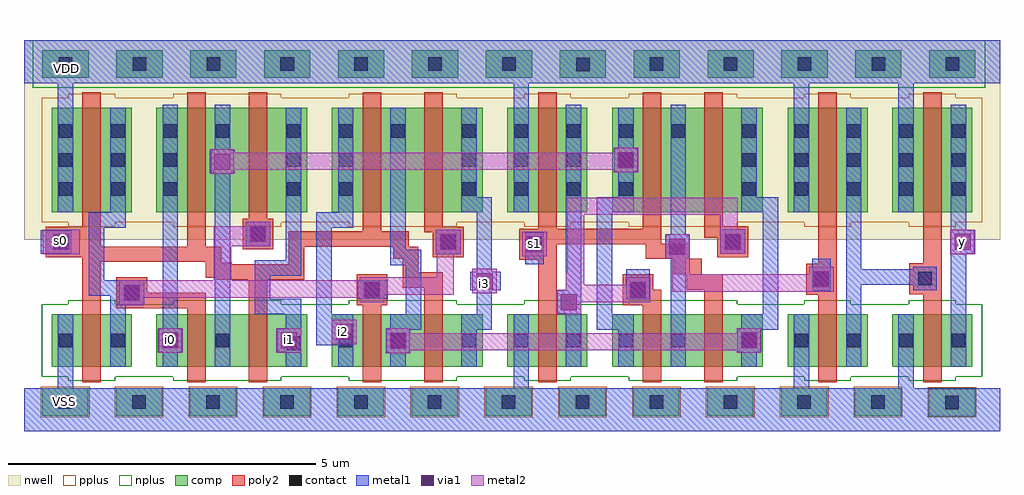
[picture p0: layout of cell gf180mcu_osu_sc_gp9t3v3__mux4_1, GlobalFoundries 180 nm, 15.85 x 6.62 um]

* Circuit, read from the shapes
.subckt gf180mcu_osu_sc_gp9t3v3__mux4_1 VDD VSS i0 i1 i2 i3 s0 s1 y
XM1 n1 s0 VSS VSS nfet_03v3 w=0.85u l=0.3u
XM2 n2 n1 i0 VSS nfet_03v3 w=0.85u l=0.3u
XM3 i1 s0 n2 VSS nfet_03v3 w=0.85u l=0.3u
XM4 n3 n1 i2 VSS nfet_03v3 w=0.85u l=0.3u
XM5 i3 s0 n3 VSS nfet_03v3 w=0.85u l=0.3u
XM6 n4 s1 VSS VSS nfet_03v3 w=0.85u l=0.3u
XM7 n5 n4 n2 VSS nfet_03v3 w=0.85u l=0.3u
XM8 n3 s1 n5 VSS nfet_03v3 w=0.85u l=0.3u
XM9 n6 n5 VSS VSS nfet_03v3 w=0.85u l=0.3u
XM10 y n6 VSS VSS nfet_03v3 w=0.85u l=0.3u
XM11 n1 s0 VDD VDD pfet_03v3 w=1.7u l=0.3u
XM12 n2 s0 i0 VDD pfet_03v3 w=1.7u l=0.3u
XM13 i1 n1 n2 VDD pfet_03v3 w=1.7u l=0.3u
XM14 n3 s0 i2 VDD pfet_03v3 w=1.7u l=0.3u
XM15 i3 n1 n3 VDD pfet_03v3 w=1.7u l=0.3u
XM16 n4 s1 VDD VDD pfet_03v3 w=1.7u l=0.3u
XM17 n5 s1 n2 VDD pfet_03v3 w=1.7u l=0.3u
XM18 n3 n4 n5 VDD pfet_03v3 w=1.7u l=0.3u
XM19 n6 n5 VDD VDD pfet_03v3 w=1.7u l=0.3u
XM20 y n6 VDD VDD pfet_03v3 w=1.7u l=0.3u
.ends

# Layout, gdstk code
import gdstk
lib = gdstk.Library(unit=1e-6, precision=1e-09)
def R(c, l, rs):  # rectangles x0, y0, x1, y1
    for r in rs: c.add(gdstk.rectangle(r[:2], r[2:], *l))
def A(c, l, x, y, w, h, nx, ny, dx, dy):  # array of equal rectangles
    R(c, l, [(x+i*dx, y+j*dy, x+i*dx+w, y+j*dy+h) for i in range(nx) for j in range(ny)])
def P(c, l, *ps):  # polygons
    for p in ps: c.add(gdstk.Polygon(p, *l))
nwell = (21, 0)
comp = (22, 0)
poly2 = (30, 0)
pplus = (31, 0)
nplus = (32, 0)
contact = (33, 0)
metal1 = (34, 0)
via1 = (35, 0)
metal2 = (36, 0)

gf180mcu_osu_sc_gp9t3v3_ = lib.new_cell('gf180mcu_osu_sc_gp9t3v3__mux4_1')
R(gf180mcu_osu_sc_gp9t3v3_, nwell, [(12.52,2.055,28.37,5.29)])
A(gf180mcu_osu_sc_gp9t3v3_, comp, 20.02, 4.68, 0.75, 0.45, 3, 1, 1.2, 0)
R(gf180mcu_osu_sc_gp9t3v3_, comp, [(27.215,-0.815,27.965,-0.365), (27.215,-0.815,27.965,-0.365), (27.215,-0.815,27.965,-0.365), (27.215,-0.815,27.965,-0.365), (27.215,-0.815,27.965,-0.365), (12.815,-0.81,13.565,-0.36), (12.815,-0.81,13.565,-0.36), (14.015,-0.81,14.765,-0.36), (14.015,-0.81,14.765,-0.36), (15.215,-0.81,15.965,-0.36), (15.215,-0.81,15.965,-0.36), (15.215,-0.81,15.965,-0.36), (15.215,-0.81,15.965,-0.36), (16.415,-0.81,17.165,-0.36), (16.415,-0.81,17.165,-0.36), (16.415,-0.81,17.165,-0.36), (16.415,-0.81,17.165,-0.36), (17.615,-0.81,18.365,-0.36), (17.615,-0.81,18.365,-0.36), (17.615,-0.81,18.365,-0.36), (17.615,-0.81,18.365,-0.36), (18.815,-0.81,19.565,-0.36), (18.815,-0.81,19.565,-0.36), (18.815,-0.81,19.565,-0.36), (18.815,-0.81,19.565,-0.36), (20.015,-0.81,20.765,-0.36), (20.015,-0.81,20.765,-0.36), (20.015,-0.81,20.765,-0.36), (20.015,-0.81,20.765,-0.36), (21.215,-0.81,21.965,-0.36), (21.215,-0.81,21.965,-0.36), (21.215,-0.81,21.965,-0.36), (21.215,-0.81,21.965,-0.36), (21.215,-0.81,21.965,-0.36), (22.415,-0.81,23.165,-0.36), (22.415,-0.81,23.165,-0.36), (22.415,-0.81,23.165,-0.36), (22.415,-0.81,23.165,-0.36), (22.415,-0.81,23.165,-0.36), (23.615,-0.81,24.365,-0.36), (23.615,-0.81,24.365,-0.36), (23.615,-0.81,24.365,-0.36), (23.615,-0.81,24.365,-0.36), (23.615,-0.81,24.365,-0.36), (24.815,-0.81,25.565,-0.36), (24.815,-0.81,25.565,-0.36), (24.815,-0.81,25.565,-0.36), (24.815,-0.81,25.565,-0.36), (24.815,-0.81,25.565,-0.36), (26.015,-0.81,26.765,-0.36), (26.015,-0.81,26.765,-0.36), (26.015,-0.81,26.765,-0.36), (26.015,-0.81,26.765,-0.36), (26.015,-0.81,26.765,-0.36), (12.97,-0.01,14.27,0.84), (14.67,-0.01,17.12,0.84), (17.52,-0.01,19.97,0.84), (20.37,-0.01,21.67,0.84), (22.07,-0.01,24.52,0.84), (24.92,-0.01,26.22,0.84), (26.62,-0.01,27.92,0.84), (12.97,2.495,14.27,4.195), (14.67,2.495,17.12,4.195), (17.52,2.495,19.97,4.195), (20.37,2.495,21.67,4.195), (22.07,2.495,24.52,4.195), (24.92,2.495,26.22,4.195), (26.62,2.495,27.92,4.195), (12.82,4.68,13.57,5.13), (14.02,4.68,14.77,5.13), (14.02,4.68,14.77,5.13), (15.22,4.68,15.97,5.13), (15.22,4.68,15.97,5.13), (16.42,4.68,17.17,5.13), (16.42,4.68,17.17,5.13), (17.62,4.68,18.37,5.13), (17.62,4.68,18.37,5.13), (18.82,4.68,19.57,5.13), (18.82,4.68,19.57,5.13), (20.02,4.68,20.77,5.13), (22.42,4.68,23.17,5.13), (23.62,4.68,24.37,5.13), (23.62,4.68,24.37,5.13), (24.82,4.68,25.57,5.13), (24.82,4.68,25.57,5.13), (26.02,4.68,26.77,5.13), (26.02,4.68,26.77,5.13), (27.22,4.68,27.97,5.13), (27.22,4.68,27.97,5.13)])
A(gf180mcu_osu_sc_gp9t3v3_, poly2, 14.42, 0.94, 0.25, 0.25, 3, 1, 0.25, 0)
A(gf180mcu_osu_sc_gp9t3v3_, poly2, 15.965, 1.405, 0.25, 0.25, 4, 1, 0.25, 0)
A(gf180mcu_osu_sc_gp9t3v3_, poly2, 16.82, 1.94, 0.25, 0.25, 7, 1, 0.25, 0)
A(gf180mcu_osu_sc_gp9t3v3_, poly2, 21.17, 1.98, 0.25, 0.25, 6, 1, 0.25, 0)
R(gf180mcu_osu_sc_gp9t3v3_, poly2, [(13.47,-0.26,13.77,4.444), (15.17,-0.26,15.47,1.19), (16.17,-0.26,16.47,1.615), (18.02,-0.26,18.32,1.19), (19.02,-0.26,19.32,1.19), (20.87,-0.26,21.17,4.444), (22.57,-0.26,22.87,1.19), (23.57,-0.26,23.87,1.19), (25.42,-0.26,25.72,-0.24), (27.12,-0.26,27.42,-0.24), (25.42,-0.259,25.72,4.445), (27.12,-0.259,27.42,4.445), (19.02,0.24,19.32,1.525), (14.02,0.94,14.52,1.44), (17.92,0.99,18.42,1.49), (17.92,0.99,18.42,1.49), (22.24,0.99,22.74,1.49), (22.62,0.99,22.87,1.24), (23.57,1.15,23.82,1.4), (23.62,1.155,23.87,1.405), (25.22,1.16,25.72,1.66), (26.9,1.17,27.4,1.67), (23.28,1.24,23.53,1.49), (23.53,1.24,23.78,1.49), (23.62,1.24,23.87,1.49), (18.67,1.275,18.92,1.525), (18.86,1.275,19.11,1.525), (15.64,1.405,15.89,1.655), (15.72,1.405,15.97,1.655), (16.82,1.405,17.07,1.655), (15.47,1.43,15.72,1.68), (15.64,1.43,15.89,1.68), (15.47,1.44,15.72,1.69), (18.67,1.44,18.92,1.69), (18.67,1.44,18.92,1.69), (16.82,1.445,17.07,1.695), (23.07,1.49,23.32,1.74), (23.28,1.49,23.53,1.74), (13.77,1.69,15.47,1.94), (15.47,1.69,15.72,1.94), (16.82,1.69,17.07,1.94), (18.67,1.69,18.92,1.94), (20.56,1.73,21.06,2.23), (18.52,1.74,18.77,1.99), (22.62,1.74,22.87,1.99), (22.745,1.74,22.995,1.99), (22.97,1.74,23.22,1.99), (23.07,1.74,23.32,1.99), (22.62,1.755,22.87,2.005), (12.875,1.765,13.375,2.265), (13.07,1.765,13.57,2.265), (19.16,1.765,19.66,2.265), (19.16,1.765,19.66,2.265), (19.16,1.765,19.66,2.265), (23.78,1.77,24.28,2.27), (23.78,1.77,24.28,2.27), (23.78,1.77,24.28,2.27), (15.17,1.895,15.47,4.445), (16.07,1.895,16.57,2.395), (16.07,1.895,16.57,2.395), (18.52,1.94,18.77,2.19), (22.62,1.98,22.87,2.23), (22.62,2.065,22.87,2.315), (22.57,2.07,22.82,2.32), (23.57,2.085,23.82,2.335), (18.02,2.12,18.27,2.37), (18.07,2.125,18.32,2.375), (19.02,2.17,19.27,2.42), (19.02,2.19,19.27,2.44), (19.07,2.19,19.32,2.44), (19.07,2.19,19.32,2.44), (23.57,2.19,23.82,2.44), (23.62,2.19,23.87,2.44), (18.02,2.245,18.32,4.445), (22.57,2.245,22.87,4.445), (16.17,2.395,16.47,4.445), (19.02,2.395,19.32,4.445), (23.57,2.395,23.87,4.445), (13.47,4.425,13.77,4.445), (20.87,4.425,21.17,4.445)])
A(gf180mcu_osu_sc_gp9t3v3_, pplus, 12.795, -0.83, 0.79, 0.49, 12, 1, 1.2, 0)
R(gf180mcu_osu_sc_gp9t3v3_, pplus, [(27.195,-0.835,27.985,-0.345), (13.24,2.265,14,2.335), (13.77,2.265,14,2.335), (14.94,2.265,15.17,2.335), (15.17,2.265,15.4,2.335), (15.215,2.265,15.975,2.335), (15.94,2.265,16.7,2.335), (16.47,2.265,16.7,2.335), (17.79,2.265,18.02,2.335), (18.02,2.265,18.25,2.335), (18.02,2.265,18.25,2.335), (18.065,2.265,18.825,2.335), (18.25,2.265,18.48,2.335), (18.295,2.265,19.055,2.335), (18.79,2.265,19.55,2.335), (18.79,2.265,19.55,2.335), (18.79,2.265,19.55,2.335), (20.64,2.265,21.4,2.335), (21.17,2.265,21.4,2.335), (22.34,2.265,22.57,2.335), (22.57,2.265,22.8,2.335), (22.615,2.265,23.375,2.335), (23.34,2.265,24.1,2.335), (25.19,2.265,25.95,2.335), (25.72,2.265,25.95,2.335), (26.89,2.265,27.65,2.335), (27.42,2.265,27.65,2.335), (12.81,2.335,28.08,4.355), (12.81,4.195,12.97,4.355), (13.24,4.355,14,4.425), (13.77,4.355,14,4.425), (14.94,4.355,15.17,4.425), (15.17,4.355,15.4,4.425), (15.17,4.355,15.4,4.425), (15.215,4.355,15.975,4.425), (15.4,4.355,15.63,4.425), (15.445,4.355,16.205,4.425), (15.94,4.355,16.7,4.425), (15.94,4.355,16.7,4.425), (15.94,4.355,16.7,4.425), (16.47,4.355,16.7,4.425), (16.47,4.355,16.7,4.425), (16.47,4.355,16.7,4.425), (17.79,4.355,18.02,4.425), (18.02,4.355,18.25,4.425), (18.065,4.355,18.825,4.425), (18.79,4.355,19.55,4.425), (18.79,4.355,19.55,4.425), (19.32,4.355,19.55,4.425), (19.32,4.355,19.55,4.425), (20.64,4.355,21.4,4.425), (21.17,4.355,21.4,4.425), (22.34,4.355,22.57,4.425), (22.57,4.355,22.8,4.425), (22.615,4.355,23.375,4.425), (23.34,4.355,24.1,4.425), (23.87,4.355,24.1,4.425), (25.19,4.355,25.95,4.425), (25.72,4.355,25.95,4.425), (26.89,4.355,27.65,4.425), (27.42,4.355,27.65,4.425)])
R(gf180mcu_osu_sc_gp9t3v3_, nplus, [(13.24,-0.24,13.47,-0.03), (13.455,-0.24,13.685,-0.03), (13.54,-0.24,13.77,-0.03), (13.77,-0.24,14,-0.03), (14.94,-0.24,15.17,-0.03), (15.155,-0.24,15.385,-0.03), (15.24,-0.24,15.47,-0.03), (15.465,-0.24,15.695,-0.03), (15.47,-0.24,15.7,-0.03), (15.68,-0.24,15.91,-0.03), (15.765,-0.24,15.995,-0.03), (15.94,-0.24,16.17,-0.03), (15.995,-0.24,16.225,-0.03), (16.155,-0.24,16.385,-0.03), (16.24,-0.24,16.47,-0.03), (16.47,-0.24,16.7,-0.03), (17.79,-0.24,18.02,-0.03), (18.005,-0.24,18.235,-0.03), (18.09,-0.24,18.32,-0.03), (18.32,-0.24,18.55,-0.03), (18.35,-0.24,18.58,-0.03), (18.565,-0.24,18.795,-0.03), (18.65,-0.24,18.88,-0.03), (18.79,-0.24,19.02,-0.03), (18.88,-0.24,19.11,-0.03), (19.005,-0.24,19.235,-0.03), (19.09,-0.24,19.32,-0.03), (19.32,-0.24,19.55,-0.03), (20.64,-0.24,20.87,-0.03), (20.855,-0.24,21.085,-0.03), (20.94,-0.24,21.17,-0.03), (21.17,-0.24,21.4,-0.03), (22.34,-0.24,22.57,-0.03), (22.555,-0.24,22.785,-0.03), (22.64,-0.24,22.87,-0.03), (22.87,-0.24,23.1,-0.03), (22.945,-0.24,23.175,-0.03), (23.16,-0.24,23.39,-0.03), (23.245,-0.24,23.475,-0.03), (23.34,-0.24,23.57,-0.03), (23.475,-0.24,23.705,-0.03), (23.555,-0.24,23.785,-0.03), (23.64,-0.24,23.87,-0.03), (23.87,-0.24,24.1,-0.03), (25.19,-0.24,25.42,-0.03), (25.405,-0.24,25.635,-0.03), (25.49,-0.24,25.72,-0.03), (25.72,-0.24,25.95,-0.03), (26.89,-0.24,27.12,-0.03), (27.105,-0.24,27.335,-0.03), (27.19,-0.24,27.42,-0.03), (27.42,-0.24,27.65,-0.03), (12.81,-0.17,28.08,1), (13.24,0.86,13.47,1.07), (13.455,0.86,13.685,1.07), (13.54,0.86,13.77,1.07), (13.77,0.86,14,1.07), (14.94,0.86,15.17,1.07), (14.94,0.86,15.17,1.07), (15.155,0.86,15.385,1.07), (15.155,0.86,15.385,1.07), (15.24,0.86,15.47,1.07), (15.24,0.86,15.47,1.07), (15.465,0.86,15.695,1.07), (15.47,0.86,15.7,1.07), (15.47,0.86,15.7,1.07), (15.68,0.86,15.91,1.07), (15.765,0.86,15.995,1.07), (15.94,0.86,16.17,1.07), (15.94,0.86,16.17,1.07), (15.995,0.86,16.225,1.07), (16.155,0.86,16.385,1.07), (16.155,0.86,16.385,1.07), (16.24,0.86,16.47,1.07), (16.24,0.86,16.47,1.07), (16.47,0.86,16.7,1.07), (16.47,0.86,16.7,1.07), (17.79,0.86,18.02,1.07), (18.005,0.86,18.235,1.07), (18.09,0.86,18.32,1.07), (18.235,0.86,18.465,1.07), (18.32,0.86,18.55,1.07), (18.45,0.86,18.68,1.07), (18.535,0.86,18.765,1.07), (18.765,0.86,18.995,1.07), (18.79,0.86,19.02,1.07), (19.005,0.86,19.235,1.07), (19.09,0.86,19.32,1.07), (19.32,0.86,19.55,1.07), (20.64,0.86,20.87,1.07), (20.855,0.86,21.085,1.07), (20.94,0.86,21.17,1.07), (21.17,0.86,21.4,1.07), (22.34,0.86,22.57,1.07), (22.555,0.86,22.785,1.07), (22.64,0.86,22.87,1.07), (22.78,0.86,23.01,1.07), (22.87,0.86,23.1,1.07), (22.995,0.86,23.225,1.07), (23.08,0.86,23.31,1.07), (23.31,0.86,23.54,1.07), (23.34,0.86,23.57,1.07), (23.555,0.86,23.785,1.07), (23.64,0.86,23.87,1.07), (23.87,0.86,24.1,1.07), (25.19,0.86,25.42,1.07), (25.405,0.86,25.635,1.07), (25.49,0.86,25.72,1.07), (25.72,0.86,25.95,1.07), (26.89,0.86,27.12,1.07), (27.105,0.86,27.335,1.07), (27.19,0.86,27.42,1.07), (27.42,0.86,27.65,1.07), (12.66,4.52,28.13,5.29)])
A(gf180mcu_osu_sc_gp9t3v3_, contact, 13.08, -0.695, 0.22, 0.22, 12, 1, 1.2, 0)
A(gf180mcu_osu_sc_gp9t3v3_, contact, 13.085, 0.305, 0.22, 0.22, 4, 2, 0.85, 3.4)
A(gf180mcu_osu_sc_gp9t3v3_, contact, 19.635, 0.305, 0.22, 0.22, 5, 2, 0.85, 3.4)
A(gf180mcu_osu_sc_gp9t3v3_, contact, 24.185, 0.305, 0.22, 0.22, 5, 2, 0.85, 2.46)
A(gf180mcu_osu_sc_gp9t3v3_, contact, 13.085, 2.765, 0.22, 0.22, 3, 2, 0.85, 0.47)
A(gf180mcu_osu_sc_gp9t3v3_, contact, 19.635, 2.765, 0.22, 0.22, 4, 2, 0.85, 0.47)
A(gf180mcu_osu_sc_gp9t3v3_, contact, 24.185, 3.235, 0.22, 0.22, 5, 2, 0.85, 0.47)
A(gf180mcu_osu_sc_gp9t3v3_, contact, 16.785, 3.705, 0.22, 0.22, 3, 1, 0.85, 0)
R(gf180mcu_osu_sc_gp9t3v3_, contact, [(27.48,-0.7,27.7,-0.48), (16.785,0.26,17.005,0.48), (17.635,0.305,17.855,0.525), (18.485,0.305,18.705,0.525), (18.485,0.305,18.705,0.525), (14.16,1.08,14.38,1.3), (18.06,1.13,18.28,1.35), (18.06,1.13,18.28,1.35), (22.38,1.13,22.6,1.35), (25.36,1.3,25.58,1.52), (27.04,1.31,27.26,1.53), (20.7,1.87,20.92,2.09), (13.015,1.905,13.235,2.125), (19.3,1.905,19.52,2.125), (19.3,1.905,19.52,2.125), (19.3,1.905,19.52,2.125), (23.92,1.91,24.14,2.13), (23.92,1.91,24.14,2.13), (23.92,1.91,24.14,2.13), (16.21,2.035,16.43,2.255), (16.21,2.035,16.43,2.255), (16.785,2.765,17.005,2.985), (17.635,2.765,17.855,2.985), (16.785,3.235,17.005,3.455), (17.635,3.235,17.855,3.455), (22.185,3.235,22.405,3.455), (21.485,4.79,21.705,5.01), (21.485,4.79,21.705,5.01), (13.085,4.795,13.305,5.015), (14.285,4.795,14.505,5.015), (14.285,4.795,14.505,5.015), (15.485,4.795,15.705,5.015), (15.485,4.795,15.705,5.015), (16.685,4.795,16.905,5.015), (16.685,4.795,16.905,5.015), (17.885,4.795,18.105,5.015), (17.885,4.795,18.105,5.015), (19.085,4.795,19.305,5.015), (19.085,4.795,19.305,5.015), (20.285,4.795,20.505,5.015), (20.285,4.795,20.505,5.015), (22.685,4.795,22.905,5.015), (22.685,4.795,22.905,5.015), (23.885,4.795,24.105,5.015), (23.885,4.795,24.105,5.015), (25.085,4.795,25.305,5.015), (25.085,4.795,25.305,5.015), (26.285,4.795,26.505,5.015), (26.285,4.795,26.505,5.015), (27.485,4.795,27.705,5.015), (27.485,4.795,27.705,5.015)])
P(gf180mcu_osu_sc_gp9t3v3_, contact, [(13.03,5.56),(13.03,5.56),(13.03,5.56),(13.03,5.56)])
A(gf180mcu_osu_sc_gp9t3v3_, metal1, 16.77, -0.01, 0.25, 0.85, 3, 1, 0.85, 0)
A(gf180mcu_osu_sc_gp9t3v3_, metal1, 17.27, 0.34, 0.25, 0.25, 1, 3, 0, 0.25)
A(gf180mcu_osu_sc_gp9t3v3_, metal1, 18.72, 0.59, 0.25, 0.25, 1, 3, 0, 0.25)
A(gf180mcu_osu_sc_gp9t3v3_, metal1, 21.82, 0.59, 0.25, 0.25, 1, 7, 0, 0.25)
A(gf180mcu_osu_sc_gp9t3v3_, metal1, 24.52, 0.79, 0.25, 0.25, 1, 6, 0, 0.25)
A(gf180mcu_osu_sc_gp9t3v3_, metal1, 16.27, 0.84, 0.25, 0.25, 3, 2, 0.25, 0.625)
A(gf180mcu_osu_sc_gp9t3v3_, metal1, 13.57, 1.29, 0.25, 0.25, 1, 4, 0, 0.25)
A(gf180mcu_osu_sc_gp9t3v3_, metal1, 19.87, 1.29, 0.25, 0.25, 1, 4, 0, 0.25)
A(gf180mcu_osu_sc_gp9t3v3_, metal1, 26.295, 1.32, 0.25, 0.25, 3, 1, 0.25, 0)
A(gf180mcu_osu_sc_gp9t3v3_, metal1, 17.27, 1.34, 0.25, 0.25, 1, 4, 0, 0.25)
A(gf180mcu_osu_sc_gp9t3v3_, metal1, 16.77, 2.495, 0.25, 1.7, 3, 1, 0.85, 0)
R(gf180mcu_osu_sc_gp9t3v3_, metal1, [(12.52,-1.06,28.37,-0.36), (13.07,-0.36,13.32,0.84), (20.47,-0.36,20.72,0.84), (25.02,-0.36,25.27,0.84), (26.72,-0.36,26.97,0.84), (13.92,-0.01,14.17,0.84), (14.77,-0.01,15.02,4.24), (14.77,-0.01,15.02,0.84), (15.62,-0.01,15.87,4.24), (19.62,-0.01,19.87,0.84), (21.32,-0.01,21.57,4.24), (22.17,-0.01,22.42,0.84), (23.02,-0.01,23.27,4.24), (24.17,-0.01,24.42,0.84), (25.87,-0.01,26.12,0.84), (27.57,-0.01,27.82,4.24), (16.77,0.215,17.02,0.465), (18.405,0.22,18.785,0.6), (14.705,0.225,15.085,0.605), (16.63,0.225,17.01,0.605), (24.105,0.225,24.485,0.605), (18.445,0.26,18.745,0.56), (17.52,0.34,17.77,0.59), (17.52,0.34,17.77,0.59), (17.57,0.405,17.87,0.705), (18.495,0.54,18.745,0.79), (24.195,0.54,24.445,0.79), (17.395,0.59,17.645,0.84), (19.87,0.59,20.12,0.84), (21.92,0.59,22.17,0.84), (24.42,0.59,24.67,0.84), (24.52,0.59,24.77,0.84), (24.52,0.595,24.77,0.845), (16.77,0.66,17.02,0.91), (19.87,0.8,20.12,1.23), (13.92,0.84,14.17,1.09), (25.87,0.84,26.12,2.54), (21.18,0.85,21.56,1.23), (14.07,0.99,14.47,1.39), (17.27,1.08,17.52,1.33), (22.3,1.085,22.68,1.575), (13.92,1.09,14.17,1.34), (16.27,1.09,16.52,1.34), (17.94,1.09,18.43,1.39), (18.02,1.09,18.32,1.39), (18.02,1.09,18.32,1.39), (22.34,1.09,22.64,1.39), (17.27,1.095,17.52,1.345), (13.57,1.14,13.82,1.39), (13.67,1.14,13.92,1.39), (13.92,1.14,14.17,1.39), (25.32,1.22,25.62,1.28), (19.77,1.23,20.26,1.53), (19.85,1.23,20.15,1.53), (19.85,1.23,20.15,1.53), (26.96,1.23,27.34,1.61), (25.32,1.24,25.62,1.26), (19.87,1.255,20.12,1.505), (25.32,1.26,25.62,1.56), (25.32,1.263,25.62,1.745), (27.28,1.27,27.34,1.57), (27.3,1.27,27.32,1.57), (18.72,1.275,18.97,1.525), (26.06,1.32,26.31,1.57), (16.27,1.34,16.52,1.59), (18.72,1.49,18.97,1.74), (16.77,1.51,17.02,1.76), (18.47,1.64,18.72,1.89), (18.72,1.64,18.97,1.89), (20.66,1.65,20.96,2.132), (16.77,1.74,17.02,1.99), (22.94,1.75,23.32,2.13), (18.47,1.79,18.72,2.04), (19.21,1.815,19.61,2.215), (23.83,1.82,24.23,2.22), (12.795,1.825,13.285,2.205), (27.575,1.825,27.955,2.205), (20.66,1.83,20.96,2.13), (16.77,1.84,17.02,2.09), (12.935,1.865,12.955,2.165), (12.955,1.865,12.975,2.165), (12.975,1.865,13.275,2.165), (16.12,1.945,16.52,2.345), (16.77,2.04,17.02,2.29), (18.47,2.04,18.72,2.29), (20.66,2.09,20.96,2.15), (20.66,2.11,20.96,2.17), (20.66,2.13,20.96,2.15), (13.57,2.245,13.82,2.495), (13.82,2.245,14.07,2.495), (13.92,2.245,14.17,2.495), (16.77,2.245,17.02,2.495), (17.27,2.245,17.52,2.495), (17.52,2.245,17.77,2.495), (17.62,2.245,17.87,2.495), (18.47,2.245,18.72,2.495), (19.87,2.245,20.12,2.495), (24.52,2.245,24.77,2.495), (21.82,2.295,22.07,2.545), (13.07,2.495,13.32,4.545), (13.92,2.495,14.17,4.195), (15.62,2.495,15.87,2.695), (18.47,2.495,18.72,2.695), (19.62,2.495,19.87,4.195), (19.87,2.495,20.12,2.745), (20.47,2.495,20.72,4.545), (21.82,2.495,22.07,2.745), (22.045,2.495,22.295,2.745), (22.17,2.495,22.42,4.195), (23.02,2.495,23.27,2.695), (24.17,2.495,24.42,4.195), (24.42,2.495,24.67,2.745), (24.52,2.495,24.77,2.745), (25.02,2.495,25.27,4.545), (25.87,2.495,26.12,4.195), (26.72,2.495,26.97,4.545), (15.55,3.13,15.93,3.51), (22.105,3.155,22.485,3.535), (20.47,4.39,20.72,4.64), (13.07,4.41,13.32,4.66), (25.02,4.44,25.27,4.69), (26.72,4.445,26.97,4.695), (12.52,4.59,28.37,5.29)])
R(gf180mcu_osu_sc_gp9t3v3_, via1, [(18.465,0.28,18.725,0.54), (18.465,0.28,18.725,0.54), (14.765,0.285,15.025,0.545), (16.69,0.285,16.95,0.545), (24.165,0.285,24.425,0.545), (17.59,0.425,17.85,0.685), (21.24,0.91,21.5,1.17), (14.14,1.06,14.4,1.32), (18.04,1.11,18.3,1.37), (18.04,1.11,18.3,1.37), (22.36,1.11,22.62,1.37), (19.87,1.25,20.13,1.51), (19.87,1.25,20.13,1.51), (25.34,1.28,25.6,1.54), (23,1.81,23.26,2.07), (20.68,1.85,20.94,2.11), (12.995,1.885,13.255,2.145), (19.28,1.885,19.54,2.145), (27.635,1.885,27.895,2.145), (23.9,1.89,24.16,2.15), (16.19,2.015,16.45,2.275), (15.61,3.19,15.87,3.45), (22.165,3.215,22.425,3.475)])
A(gf180mcu_osu_sc_gp9t3v3_, metal2, 18.69, 0.255, 0.28, 0.28, 7, 1, 0.28, 0)
A(gf180mcu_osu_sc_gp9t3v3_, metal2, 20.63, 0.255, 0.28, 0.28, 3, 1, 0.28, 0)
A(gf180mcu_osu_sc_gp9t3v3_, metal2, 21.45, 0.255, 0.28, 0.28, 9, 1, 0.28, 0)
A(gf180mcu_osu_sc_gp9t3v3_, metal2, 21.35, 1.04, 0.28, 0.28, 3, 1, 0.28, 0)
A(gf180mcu_osu_sc_gp9t3v3_, metal2, 21.52, 1.04, 0.25, 0.25, 3, 1, 0.25, 0)
A(gf180mcu_osu_sc_gp9t3v3_, metal2, 14.47, 1.14, 0.25, 0.25, 5, 1, 0.25, 0)
A(gf180mcu_osu_sc_gp9t3v3_, metal2, 15.62, 1.14, 0.25, 0.25, 5, 1, 0.25, 0)
A(gf180mcu_osu_sc_gp9t3v3_, metal2, 17.115, 1.14, 0.25, 0.25, 3, 1, 0.23, 0)
A(gf180mcu_osu_sc_gp9t3v3_, metal2, 18.365, 1.16, 0.28, 0.28, 4, 1, 0.28, 0)
A(gf180mcu_osu_sc_gp9t3v3_, metal2, 24.505, 1.21, 0.28, 0.28, 3, 1, 0.275, 0)
A(gf180mcu_osu_sc_gp9t3v3_, metal2, 23.08, 1.24, 0.25, 0.25, 8, 1, 0.25, 0)
A(gf180mcu_osu_sc_gp9t3v3_, metal2, 21.37, 1.28, 0.25, 0.25, 1, 5, 0, 0.25)
A(gf180mcu_osu_sc_gp9t3v3_, metal2, 19.22, 1.315, 0.25, 0.25, 1, 3, 0, 0.245)
A(gf180mcu_osu_sc_gp9t3v3_, metal2, 15.605, 1.375, 0.28, 0.28, 1, 3, 0, 0.28)
A(gf180mcu_osu_sc_gp9t3v3_, metal2, 21.34, 1.375, 0.28, 0.28, 1, 4, 0, 0.28)
A(gf180mcu_osu_sc_gp9t3v3_, metal2, 21.34, 2.455, 0.28, 0.28, 7, 1, 0.28, 0)
A(gf180mcu_osu_sc_gp9t3v3_, metal2, 21.37, 2.485, 0.25, 0.25, 8, 1, 0.25, 0)
R(gf180mcu_osu_sc_gp9t3v3_, metal2, [(18.395,0.21,18.795,0.61), (14.695,0.215,15.095,0.615), (16.62,0.215,17.02,0.615), (24.095,0.215,24.495,0.615), (23.865,0.255,24.145,0.535), (18.47,0.285,24.42,0.535), (17.52,0.355,17.92,0.755), (21.17,0.84,21.57,1.24), (14.07,0.99,14.47,1.39), (17.97,1.04,18.37,1.44), (22.04,1.04,22.32,1.32), (22.29,1.04,22.69,1.44), (14.43,1.11,17.97,1.39), (17.785,1.14,18.035,1.39), (19.22,1.16,19.5,1.44), (19.8,1.18,20.2,1.58), (18.375,1.19,18.625,1.44), (18.555,1.19,18.805,1.44), (18.78,1.19,19.03,1.44), (18.99,1.19,19.24,1.44), (19.22,1.19,19.47,1.44), (23.05,1.21,23.33,1.49), (23.27,1.21,23.55,1.49), (23.53,1.21,23.81,1.49), (23.75,1.21,24.03,1.49), (23.98,1.21,24.26,1.49), (24.235,1.21,24.515,1.49), (25.27,1.21,25.67,1.61), (21.32,1.24,21.57,1.49), (25.04,1.24,25.29,1.49), (21.32,1.28,21.57,1.53), (23.05,1.31,23.33,1.59), (19.22,1.44,19.5,1.72), (23.08,1.49,23.33,1.74), (23.05,1.585,23.33,1.865), (19.22,1.6,19.5,1.88), (15.62,1.64,15.87,1.89), (22.93,1.74,23.33,2.14), (20.61,1.78,21.01,2.18), (12.825,1.815,13.425,2.215), (19.21,1.815,19.61,2.215), (27.565,1.815,27.965,2.215), (23.83,1.82,24.23,2.22), (15.62,1.89,15.87,2.14), (15.885,1.945,16.165,2.225), (16.12,1.945,16.52,2.345), (15.605,1.99,15.885,2.27), (15.62,1.99,15.87,2.24), (15.87,1.99,16.12,2.24), (15.885,1.99,16.165,2.27), (23.83,2.155,24.11,2.435), (23.83,2.24,24.08,2.49), (23.83,2.39,24.11,2.67), (23.295,2.455,23.575,2.735), (23.575,2.455,23.855,2.735), (23.8,2.455,24.08,2.735), (23.83,2.455,24.11,2.735), (23.375,2.485,23.625,2.735), (23.625,2.485,23.875,2.735), (23.83,2.485,24.08,2.735), (15.54,3.12,15.94,3.52), (22.095,3.145,22.495,3.545), (15.62,3.185,22.42,3.465)])
gf180mcu_osu_sc_gp9t3v3_.add(gdstk.Label('VSS', (13.18,-0.58), layer=34, texttype=10))
gf180mcu_osu_sc_gp9t3v3_.add(gdstk.Label('VDD', (13.215,4.835), layer=34, texttype=10))
gf180mcu_osu_sc_gp9t3v3_.add(gdstk.Label('y', (27.76,2.02), layer=36, texttype=10))
gf180mcu_osu_sc_gp9t3v3_.add(gdstk.Label('i1', (16.825,0.425), layer=36, texttype=10))
gf180mcu_osu_sc_gp9t3v3_.add(gdstk.Label('i0', (14.9,0.43), layer=36, texttype=10))
gf180mcu_osu_sc_gp9t3v3_.add(gdstk.Label('i2', (17.71,0.565), layer=36, texttype=10))
gf180mcu_osu_sc_gp9t3v3_.add(gdstk.Label('i3', (20,1.335), layer=36, texttype=10))
gf180mcu_osu_sc_gp9t3v3_.add(gdstk.Label('s1', (20.805,1.99), layer=36, texttype=10))
gf180mcu_osu_sc_gp9t3v3_.add(gdstk.Label('s0', (13.12,2.04), layer=36, texttype=10))

lib.write_gds('gf180mcu_osu_sc_gp9t3v3__mux4_1.gds')
